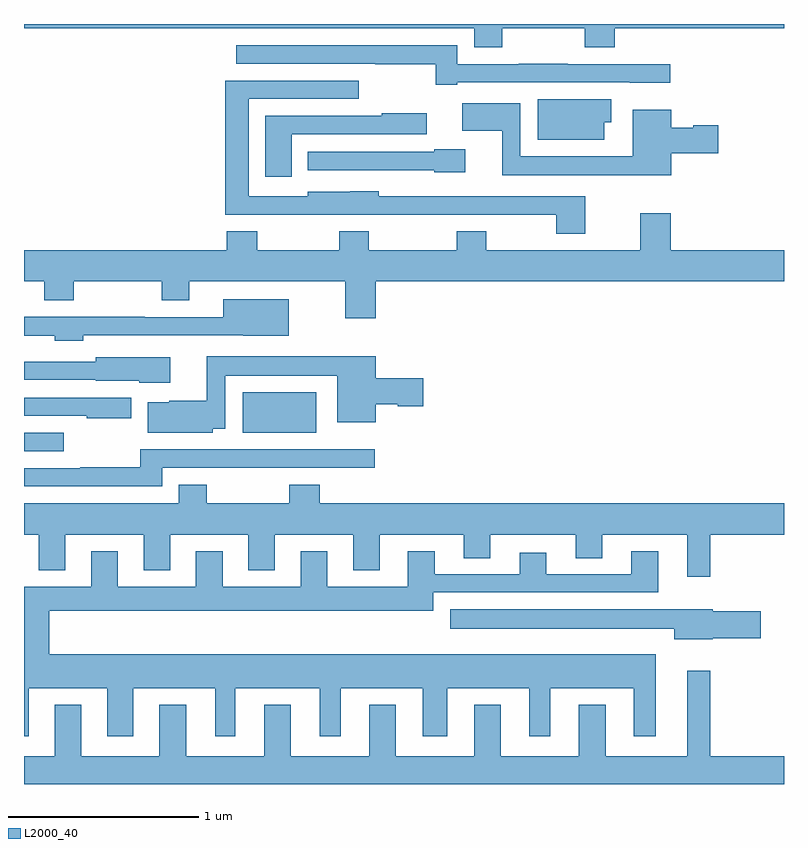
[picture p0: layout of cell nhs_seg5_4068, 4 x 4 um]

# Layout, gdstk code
import gdstk
lib = gdstk.Library(unit=1e-6, precision=1e-09)
def R(c, l, rs):  # rectangles x0, y0, x1, y1
    for r in rs: c.add(gdstk.rectangle(r[:2], r[2:], *l))
def P(c, l, *ps):  # polygons
    for p in ps: c.add(gdstk.Polygon(p, *l))
L2000_40 = (2000, 40)

nhs_seg5_4068 = lib.new_cell('nhs_seg5_4068')
R(nhs_seg5_4068, L2000_40, [(351,838.551,351.208,838.647), (352.151,838.649,352.537,838.861)])
P(nhs_seg5_4068, L2000_40, [(353.517,840.776),(353.95,840.776),(353.95,840.677),(354.11,840.677),(354.11,840.776),(355,840.776),(355,840.799),(351,840.799),(351,840.776),(353.369,840.776),(353.369,840.677),(353.517,840.677)],
  [(353.281,840.492),(354.187,840.492),(354.187,840.491),(354.4,840.491),(354.4,840.588),(353.861,840.588),(353.861,840.59),(353.605,840.59),(353.605,840.588),(353.281,840.588),(353.281,840.687),(352.116,840.687),(352.116,840.591),(352.849,840.591),(352.849,840.586),(353.167,840.586),(353.167,840.48),(353.281,840.48)],
  [(353.955,839.892),(352.866,839.892),(352.866,839.92),(352.716,839.92),(352.716,839.917),(352.494,839.917),(352.494,839.892),(352.183,839.892),(352.183,840.405),(352.762,840.405),(352.762,840.501),(352.058,840.501),(352.058,839.795),(352.494,839.795),(352.494,839.796),(352.866,839.796),(352.866,839.795),(353.189,839.795),(353.189,839.796),(353.521,839.796),(353.521,839.795),(353.8,839.795),(353.8,839.694),(353.955,839.694)],
  [(354.055,840.281),(354.091,840.281),(354.091,840.403),(353.705,840.403),(353.705,840.191),(354.055,840.191)],
  [(354.406,840.119),(354.655,840.119),(354.655,840.266),(354.522,840.266),(354.522,840.253),(354.406,840.253),(354.406,840.349),(354.203,840.349),(354.203,840.103),(353.613,840.103),(353.613,840.382),(353.307,840.382),(353.307,840.236),(353.516,840.236),(353.516,840.002),(354.406,840.002)],
  [(352.408,840.219),(353.119,840.219),(353.119,840.328),(352.883,840.328),(352.883,840.315),(352.271,840.315),(352.271,839.994),(352.408,839.994)],
  [(353.323,840.141),(353.16,840.141),(353.16,840.126),(352.493,840.126),(352.493,840.03),(353.16,840.03),(353.16,840.02),(353.323,840.02)],
  [(352.85,839.444),(355,839.444),(355,839.608),(354.404,839.608),(354.404,839.803),(354.244,839.803),(354.244,839.608),(353.433,839.608),(353.433,839.707),(353.278,839.707),(353.278,839.608),(352.815,839.608),(352.815,839.707),(352.66,839.707),(352.66,839.608),(352.227,839.608),(352.227,839.707),(352.067,839.707),(352.067,839.608),(351,839.608),(351,839.444),(351.106,839.444),(351.106,839.345),(351.261,839.345),(351.261,839.444),(351.724,839.444),(351.724,839.345),(351.871,839.345),(351.871,839.444),(352.69,839.444),(352.69,839.25),(352.85,839.25)],
  [(351.312,839.16),(352.153,839.16),(352.153,839.159),(352.393,839.159),(352.393,839.35),(352.049,839.35),(352.049,839.256),(351.635,839.256),(351.635,839.258),(351,839.258),(351,839.159),(351.162,839.159),(351.162,839.132),(351.312,839.132)],
  [(351.993,838.67),(352.059,838.67),(352.059,838.949),(352.649,838.949),(352.649,838.703),(352.852,838.703),(352.852,838.799),(352.968,838.799),(352.968,838.787),(353.101,838.787),(353.101,838.934),(352.852,838.934),(352.852,839.05),(351.962,839.05),(351.962,838.816),(351.765,838.816),(351.765,838.807),(351.65,838.807),(351.65,838.649),(351.993,838.649)],
  [(351.769,839.044),(351.378,839.044),(351.378,839.022),(351,839.022),(351,838.926),(351.378,838.926),(351.378,838.922),(351.606,838.922),(351.606,838.911),(351.769,838.911)],
  [(351.565,838.833),(351,838.833),(351,838.737),(351.329,838.737),(351.329,838.724),(351.565,838.724)],
  [(351.727,838.464),(352.051,838.464),(352.051,838.463),(352.307,838.463),(352.307,838.464),(352.846,838.464),(352.846,838.561),(352.597,838.561),(352.597,838.56),(351.613,838.56),(351.613,838.466),(351.295,838.466),(351.295,838.461),(351,838.461),(351,838.365),(351.727,838.365)],
  [(354.613,838.112),(355,838.112),(355,838.276),(352.556,838.276),(352.556,838.375),(352.396,838.375),(352.396,838.276),(351.963,838.276),(351.963,838.375),(351.815,838.375),(351.815,838.276),(351,838.276),(351,838.112),(351.077,838.112),(351.077,837.923),(351.217,837.923),(351.217,838.112),(351.629,838.112),(351.629,837.923),(351.769,837.923),(351.769,838.112),(352.181,838.112),(352.181,837.923),(352.321,837.923),(352.321,838.112),(352.733,838.112),(352.733,837.923),(352.873,837.923),(352.873,838.112),(353.315,838.112),(353.315,837.988),(353.455,837.988),(353.455,838.112),(353.903,838.112),(353.903,837.988),(354.043,837.988),(354.043,838.112),(354.491,838.112),(354.491,837.891),(354.613,837.891)],
  [(351.025,837.302),(351.437,837.302),(351.437,837.051),(351.574,837.051),(351.574,837.302),(352.007,837.302),(352.007,837.051),(352.111,837.051),(352.111,837.302),(352.556,837.302),(352.556,837.051),(352.666,837.051),(352.666,837.302),(353.099,837.302),(353.099,837.051),(353.227,837.051),(353.227,837.302),(353.66,837.302),(353.66,837.051),(353.77,837.051),(353.77,837.302),(354.209,837.302),(354.209,837.051),(354.325,837.051),(354.325,837.481),(351.133,837.481),(351.133,837.71),(353.155,837.71),(353.155,837.807),(354.337,837.807),(354.337,838.024),(354.197,838.024),(354.197,837.903),(353.749,837.903),(353.749,838.015),(353.609,838.015),(353.609,837.903),(353.161,837.903),(353.161,838.024),(353.021,838.024),(353.021,837.838),(352.597,837.838),(352.597,838.024),(352.457,838.024),(352.457,837.838),(352.045,837.838),(352.045,838.024),(351.905,838.024),(351.905,837.838),(351.493,837.838),(351.493,838.024),(351.353,838.024),(351.353,837.838),(351,837.838),(351,837.051),(351.025,837.051)],
  [(354.624,837.566),(354.877,837.566),(354.877,837.708),(354.624,837.708),(354.624,837.718),(353.244,837.718),(353.244,837.617),(354.422,837.617),(354.422,837.56),(354.624,837.56)],
  [(355,836.944),(354.613,836.944),(354.613,837.394),(354.491,837.394),(354.491,836.944),(354.061,836.944),(354.061,837.217),(353.921,837.217),(353.921,836.944),(353.509,836.944),(353.509,837.217),(353.369,837.217),(353.369,836.944),(352.957,836.944),(352.957,837.217),(352.817,837.217),(352.817,836.944),(352.405,836.944),(352.405,837.217),(352.265,837.217),(352.265,836.944),(351.853,836.944),(351.853,837.217),(351.713,837.217),(351.713,836.944),(351.301,836.944),(351.301,837.217),(351.161,837.217),(351.161,836.944),(351,836.944),(351,836.799),(355,836.799)])

lib.write_gds('nhs_seg5_4068.gds')
